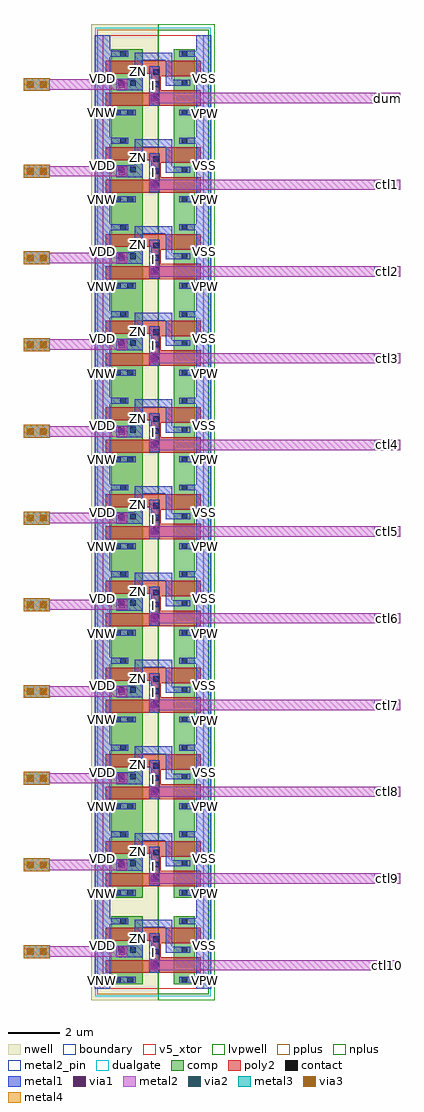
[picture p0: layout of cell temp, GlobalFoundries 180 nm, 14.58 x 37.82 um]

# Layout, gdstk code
import gdstk
lib = gdstk.Library(unit=1e-6, precision=1e-09)
def R(c, l, rs):  # rectangles x0, y0, x1, y1
    for r in rs: c.add(gdstk.rectangle(r[:2], r[2:], *l))
def A(c, l, x, y, w, h, nx, ny, dx, dy):  # array of equal rectangles
    R(c, l, [(x+i*dx, y+j*dy, x+i*dx+w, y+j*dy+h) for i in range(nx) for j in range(ny)])
def P(c, l, *ps):  # polygons
    for p in ps: c.add(gdstk.Polygon(p, *l))
boundary = (0, 0)
nwell = (21, 0)
comp = (22, 0)
poly2 = (30, 0)
pplus = (31, 0)
nplus = (32, 0)
contact = (33, 0)
metal1 = (34, 0)
via1 = (35, 0)
metal2 = (36, 0)
metal2_pin = (36, 10)
via2 = (38, 0)
via3 = (40, 0)
metal3 = (42, 0)
metal4 = (46, 0)
dualgate = (55, 0)
v5_xtor = (112, 1)
lvpwell = (204, 0)

temp = lib.new_cell('temp')
A(temp, boundary, 994.927, 79.97, 3.92, 3.36, 1, 11, 0, 3.36)
A(temp, nwell, 994.497, 79.54, 2.59, 4.22, 1, 11, 0, 3.36)
A(temp, comp, 995.267, 80.15, 1.22, 2.63, 1, 11, 0, 3.36)
A(temp, comp, 997.687, 80.15, 0.82, 2.63, 1, 11, 0, 3.36)
R(temp, comp, [(995.267,83.51,996.487,116.38), (997.687,83.51,998.507,116.38)])
P(temp, poly2, [(995.047,114.19),(995.047,114.69),(996.812,114.69),(996.812,115.44),(995.047,115.44),(995.047,115.94),(998.727,115.94),(998.727,115.34),(997.172,115.34),(997.172,114.79),(998.727,114.79),(998.727,114.19)],
  [(995.047,110.83),(995.047,111.33),(996.812,111.33),(996.812,112.08),(995.047,112.08),(995.047,112.58),(998.727,112.58),(998.727,111.98),(997.172,111.98),(997.172,111.43),(998.727,111.43),(998.727,110.83)],
  [(995.047,107.47),(995.047,107.97),(996.812,107.97),(996.812,108.72),(995.047,108.72),(995.047,109.22),(998.727,109.22),(998.727,108.62),(997.172,108.62),(997.172,108.07),(998.727,108.07),(998.727,107.47)],
  [(995.047,104.11),(995.047,104.61),(996.812,104.61),(996.812,105.36),(995.047,105.36),(995.047,105.86),(998.727,105.86),(998.727,105.26),(997.172,105.26),(997.172,104.71),(998.727,104.71),(998.727,104.11)],
  [(995.047,100.75),(995.047,101.25),(996.812,101.25),(996.812,102),(995.047,102),(995.047,102.5),(998.727,102.5),(998.727,101.9),(997.172,101.9),(997.172,101.35),(998.727,101.35),(998.727,100.75)],
  [(995.047,97.39),(995.047,97.89),(996.812,97.89),(996.812,98.64),(995.047,98.64),(995.047,99.14),(998.727,99.14),(998.727,98.54),(997.172,98.54),(997.172,97.99),(998.727,97.99),(998.727,97.39)],
  [(995.047,94.03),(995.047,94.53),(996.812,94.53),(996.812,95.28),(995.047,95.28),(995.047,95.78),(998.727,95.78),(998.727,95.18),(997.172,95.18),(997.172,94.63),(998.727,94.63),(998.727,94.03)],
  [(995.047,90.67),(995.047,91.17),(996.812,91.17),(996.812,91.92),(995.047,91.92),(995.047,92.42),(998.727,92.42),(998.727,91.82),(997.172,91.82),(997.172,91.27),(998.727,91.27),(998.727,90.67)],
  [(995.047,87.31),(995.047,87.81),(996.812,87.81),(996.812,88.56),(995.047,88.56),(995.047,89.06),(998.727,89.06),(998.727,88.46),(997.172,88.46),(997.172,87.91),(998.727,87.91),(998.727,87.31)],
  [(995.047,83.95),(995.047,84.45),(996.812,84.45),(996.812,85.2),(995.047,85.2),(995.047,85.7),(998.727,85.7),(998.727,85.1),(997.172,85.1),(997.172,84.55),(998.727,84.55),(998.727,83.95)],
  [(995.047,80.59),(995.047,81.09),(996.812,81.09),(996.812,81.84),(995.047,81.84),(995.047,82.34),(998.727,82.34),(998.727,81.74),(997.172,81.74),(997.172,81.19),(998.727,81.19),(998.727,80.59)])
A(temp, pplus, 994.727, 79.77, 2.36, 3.76, 1, 11, 0, 3.36)
A(temp, nplus, 997.087, 79.77, 1.96, 3.76, 1, 11, 0, 3.36)
A(temp, contact, 995.417, 80.22, 0.22, 0.22, 1, 11, 0, 3.36)
A(temp, contact, 995.887, 80.22, 0.22, 0.22, 1, 11, 0, 3.36)
A(temp, contact, 996.882, 80.845, 0.22, 0.22, 1, 3, 0, 0.47)
A(temp, contact, 995.527, 81.37, 0.22, 0.22, 1, 11, 0, 3.36)
A(temp, contact, 995.997, 81.37, 0.22, 0.22, 1, 11, 0, 3.36)
A(temp, contact, 995.617, 82.49, 0.22, 0.22, 1, 11, 0, 3.36)
A(temp, contact, 996.882, 84.205, 0.22, 0.22, 1, 3, 0, 0.47)
A(temp, contact, 996.882, 87.565, 0.22, 0.22, 1, 3, 0, 0.47)
A(temp, contact, 996.882, 90.925, 0.22, 0.22, 1, 3, 0, 0.47)
A(temp, contact, 996.882, 94.285, 0.22, 0.22, 1, 3, 0, 0.47)
A(temp, contact, 996.882, 97.645, 0.22, 0.22, 1, 3, 0, 0.47)
A(temp, contact, 996.882, 101.005, 0.22, 0.22, 1, 3, 0, 0.47)
A(temp, contact, 996.882, 104.365, 0.22, 0.22, 1, 3, 0, 0.47)
A(temp, contact, 996.882, 107.725, 0.22, 0.22, 1, 3, 0, 0.47)
A(temp, contact, 996.882, 111.085, 0.22, 0.22, 1, 3, 0, 0.47)
A(temp, contact, 996.882, 114.445, 0.22, 0.22, 1, 3, 0, 0.47)
R(temp, contact, [(997.997,80.22,998.217,80.44), (997.997,81.37,998.217,81.59), (997.997,82.49,998.217,82.71), (997.997,83.58,998.217,83.8), (997.997,84.73,998.217,84.95), (997.997,85.85,998.217,86.07), (997.997,86.94,998.217,87.16), (997.997,88.09,998.217,88.31), (997.997,89.21,998.217,89.43), (997.997,90.3,998.217,90.52), (997.997,91.45,998.217,91.67), (997.997,92.57,998.217,92.79), (997.997,93.66,998.217,93.88), (997.997,94.81,998.217,95.03), (997.997,95.93,998.217,96.15), (997.997,97.02,998.217,97.24), (997.997,98.17,998.217,98.39), (997.997,99.29,998.217,99.51), (997.997,100.38,998.217,100.6), (997.997,101.53,998.217,101.75), (997.997,102.65,998.217,102.87), (997.997,103.74,998.217,103.96), (997.997,104.89,998.217,105.11), (997.997,106.01,998.217,106.23), (997.997,107.1,998.217,107.32), (997.997,108.25,998.217,108.47), (997.997,109.37,998.217,109.59), (997.997,110.46,998.217,110.68), (997.997,111.61,998.217,111.83), (997.997,112.73,998.217,112.95), (997.997,113.82,998.217,114.04), (997.997,114.97,998.217,115.19), (997.997,116.09,998.217,116.31)])
A(temp, metal1, 996.727, 80.6, 0.415, 1.52, 1, 11, 0, 3.36)
A(temp, metal1, 995.477, 81.215, 0.4, 0.4, 1, 11, 0, 3.36)
R(temp, metal1, [(996.732,114.29,997.132,114.69)])
P(temp, metal1, [(995.457,114.79),(995.457,115.24),(996.167,115.24),(996.167,116.25),(997.627,116.25),(997.627,115.195),(998.317,115.195),(998.317,114.965),(997.372,114.965),(997.372,115.95),(996.487,115.95),(996.487,114.79)],
  [(995.457,111.43),(995.457,111.88),(996.167,111.88),(996.167,112.89),(997.627,112.89),(997.627,111.835),(998.317,111.835),(998.317,111.605),(997.372,111.605),(997.372,112.59),(996.487,112.59),(996.487,111.43)],
  [(995.457,108.07),(995.457,108.52),(996.167,108.52),(996.167,109.53),(997.627,109.53),(997.627,108.475),(998.317,108.475),(998.317,108.245),(997.372,108.245),(997.372,109.23),(996.487,109.23),(996.487,108.07)],
  [(995.457,104.71),(995.457,105.16),(996.167,105.16),(996.167,106.17),(997.627,106.17),(997.627,105.115),(998.317,105.115),(998.317,104.885),(997.372,104.885),(997.372,105.87),(996.487,105.87),(996.487,104.71)],
  [(995.457,101.35),(995.457,101.8),(996.167,101.8),(996.167,102.81),(997.627,102.81),(997.627,101.755),(998.317,101.755),(998.317,101.525),(997.372,101.525),(997.372,102.51),(996.487,102.51),(996.487,101.35)],
  [(995.457,97.99),(995.457,98.44),(996.167,98.44),(996.167,99.45),(997.627,99.45),(997.627,98.395),(998.317,98.395),(998.317,98.165),(997.372,98.165),(997.372,99.15),(996.487,99.15),(996.487,97.99)],
  [(995.457,94.63),(995.457,95.08),(996.167,95.08),(996.167,96.09),(997.627,96.09),(997.627,95.035),(998.317,95.035),(998.317,94.805),(997.372,94.805),(997.372,95.79),(996.487,95.79),(996.487,94.63)],
  [(995.457,91.27),(995.457,91.72),(996.167,91.72),(996.167,92.73),(997.627,92.73),(997.627,91.675),(998.317,91.675),(998.317,91.445),(997.372,91.445),(997.372,92.43),(996.487,92.43),(996.487,91.27)],
  [(995.457,87.91),(995.457,88.36),(996.167,88.36),(996.167,89.37),(997.627,89.37),(997.627,88.315),(998.317,88.315),(998.317,88.085),(997.372,88.085),(997.372,89.07),(996.487,89.07),(996.487,87.91)],
  [(995.457,84.55),(995.457,85),(996.167,85),(996.167,86.01),(997.627,86.01),(997.627,84.955),(998.317,84.955),(998.317,84.725),(997.372,84.725),(997.372,85.71),(996.487,85.71),(996.487,84.55)],
  [(995.457,81.19),(995.457,81.64),(996.167,81.64),(996.167,82.65),(997.627,82.65),(997.627,81.595),(998.317,81.595),(998.317,81.365),(997.372,81.365),(997.372,82.35),(996.487,82.35),(996.487,81.19)],
  [(998.547,113.57),(998.547,113.815),(997.897,113.815),(997.897,114.045),(998.547,114.045),(998.547,116.085),(997.897,116.085),(997.897,116.315),(998.547,116.315),(998.547,116.93),(999.147,116.93),(999.147,113.57)],
  [(998.547,110.21),(998.547,110.455),(997.897,110.455),(997.897,110.685),(998.547,110.685),(998.547,112.725),(997.897,112.725),(997.897,112.955),(998.547,112.955),(998.547,113.57),(999.147,113.57),(999.147,110.21)],
  [(998.547,106.85),(998.547,107.095),(997.897,107.095),(997.897,107.325),(998.547,107.325),(998.547,109.365),(997.897,109.365),(997.897,109.595),(998.547,109.595),(998.547,110.21),(999.147,110.21),(999.147,106.85)],
  [(998.547,103.49),(998.547,103.735),(997.897,103.735),(997.897,103.965),(998.547,103.965),(998.547,106.005),(997.897,106.005),(997.897,106.235),(998.547,106.235),(998.547,106.85),(999.147,106.85),(999.147,103.49)],
  [(998.547,100.13),(998.547,100.375),(997.897,100.375),(997.897,100.605),(998.547,100.605),(998.547,102.645),(997.897,102.645),(997.897,102.875),(998.547,102.875),(998.547,103.49),(999.147,103.49),(999.147,100.13)],
  [(998.547,96.77),(998.547,97.015),(997.897,97.015),(997.897,97.245),(998.547,97.245),(998.547,99.285),(997.897,99.285),(997.897,99.515),(998.547,99.515),(998.547,100.13),(999.147,100.13),(999.147,96.77)],
  [(998.547,93.41),(998.547,93.655),(997.897,93.655),(997.897,93.885),(998.547,93.885),(998.547,95.925),(997.897,95.925),(997.897,96.155),(998.547,96.155),(998.547,96.77),(999.147,96.77),(999.147,93.41)],
  [(998.547,90.05),(998.547,90.295),(997.897,90.295),(997.897,90.525),(998.547,90.525),(998.547,92.565),(997.897,92.565),(997.897,92.795),(998.547,92.795),(998.547,93.41),(999.147,93.41),(999.147,90.05)],
  [(998.547,86.69),(998.547,86.935),(997.897,86.935),(997.897,87.165),(998.547,87.165),(998.547,89.205),(997.897,89.205),(997.897,89.435),(998.547,89.435),(998.547,90.05),(999.147,90.05),(999.147,86.69)],
  [(998.547,83.33),(998.547,83.575),(997.897,83.575),(997.897,83.805),(998.547,83.805),(998.547,85.845),(997.897,85.845),(997.897,86.075),(998.547,86.075),(998.547,86.69),(999.147,86.69),(999.147,83.33)],
  [(998.547,79.97),(998.547,80.215),(997.897,80.215),(997.897,80.445),(998.547,80.445),(998.547,82.485),(997.897,82.485),(997.897,82.715),(998.547,82.715),(998.547,83.33),(999.147,83.33),(999.147,79.97)],
  [(994.627,113.57),(994.627,116.93),(995.227,116.93),(995.227,116.315),(995.917,116.315),(995.917,116.085),(995.227,116.085),(995.227,114.045),(996.207,114.045),(996.207,113.815),(995.227,113.815),(995.227,113.57)],
  [(994.627,110.21),(994.627,113.57),(995.227,113.57),(995.227,112.955),(995.917,112.955),(995.917,112.725),(995.227,112.725),(995.227,110.685),(996.207,110.685),(996.207,110.455),(995.227,110.455),(995.227,110.21)],
  [(994.627,106.85),(994.627,110.21),(995.227,110.21),(995.227,109.595),(995.917,109.595),(995.917,109.365),(995.227,109.365),(995.227,107.325),(996.207,107.325),(996.207,107.095),(995.227,107.095),(995.227,106.85)],
  [(994.627,103.49),(994.627,106.85),(995.227,106.85),(995.227,106.235),(995.917,106.235),(995.917,106.005),(995.227,106.005),(995.227,103.965),(996.207,103.965),(996.207,103.735),(995.227,103.735),(995.227,103.49)],
  [(994.627,100.13),(994.627,103.49),(995.227,103.49),(995.227,102.875),(995.917,102.875),(995.917,102.645),(995.227,102.645),(995.227,100.605),(996.207,100.605),(996.207,100.375),(995.227,100.375),(995.227,100.13)],
  [(994.627,96.77),(994.627,100.13),(995.227,100.13),(995.227,99.515),(995.917,99.515),(995.917,99.285),(995.227,99.285),(995.227,97.245),(996.207,97.245),(996.207,97.015),(995.227,97.015),(995.227,96.77)],
  [(994.627,93.41),(994.627,96.77),(995.227,96.77),(995.227,96.155),(995.917,96.155),(995.917,95.925),(995.227,95.925),(995.227,93.885),(996.207,93.885),(996.207,93.655),(995.227,93.655),(995.227,93.41)],
  [(994.627,90.05),(994.627,93.41),(995.227,93.41),(995.227,92.795),(995.917,92.795),(995.917,92.565),(995.227,92.565),(995.227,90.525),(996.207,90.525),(996.207,90.295),(995.227,90.295),(995.227,90.05)],
  [(994.627,86.69),(994.627,90.05),(995.227,90.05),(995.227,89.435),(995.917,89.435),(995.917,89.205),(995.227,89.205),(995.227,87.165),(996.207,87.165),(996.207,86.935),(995.227,86.935),(995.227,86.69)],
  [(994.627,83.33),(994.627,86.69),(995.227,86.69),(995.227,86.075),(995.917,86.075),(995.917,85.845),(995.227,85.845),(995.227,83.805),(996.207,83.805),(996.207,83.575),(995.227,83.575),(995.227,83.33)],
  [(994.627,79.97),(994.627,83.33),(995.227,83.33),(995.227,82.715),(995.917,82.715),(995.917,82.485),(995.227,82.485),(995.227,80.445),(996.207,80.445),(996.207,80.215),(995.227,80.215),(995.227,79.97)])
A(temp, via1, 996.802, 80.76, 0.26, 0.26, 1, 11, 0, 3.36)
A(temp, via1, 995.547, 81.285, 0.26, 0.26, 1, 11, 0, 3.36)
A(temp, metal2, 996.732, 80.69, 4.475, 0.4, 1, 11, 0, 3.36)
A(temp, metal2, 999.277, 80.69, 7.18, 0.4, 1, 11, 0, 3.36)
A(temp, metal2, 991.877, 81.165, 0.5, 0.5, 1, 11, 0, 3.36)
A(temp, metal2, 992.377, 81.165, 0.5, 0.5, 1, 11, 0, 3.36)
A(temp, metal2, 991.877, 81.215, 4, 0.4, 1, 11, 0, 3.36)
A(temp, metal2_pin, 1005.457, 80.69, 1, 0.4, 1, 11, 0, 3.36)
A(temp, via2, 991.997, 81.285, 0.26, 0.26, 1, 11, 0, 3.36)
A(temp, via2, 992.497, 81.285, 0.26, 0.26, 1, 11, 0, 3.36)
A(temp, via3, 991.997, 81.285, 0.26, 0.26, 1, 11, 0, 3.36)
A(temp, via3, 992.497, 81.285, 0.26, 0.26, 1, 11, 0, 3.36)
A(temp, metal3, 991.877, 81.165, 0.5, 0.5, 1, 11, 0, 3.36)
A(temp, metal3, 992.377, 81.165, 0.5, 0.5, 1, 11, 0, 3.36)
A(temp, metal4, 991.877, 81.165, 0.5, 0.5, 1, 11, 0, 3.36)
A(temp, metal4, 992.377, 81.165, 0.5, 0.5, 1, 11, 0, 3.36)
A(temp, dualgate, 994.647, 79.69, 4.48, 3.92, 1, 11, 0, 3.36)
A(temp, v5_xtor, 994.927, 79.97, 3.92, 3.36, 1, 11, 0, 3.36)
A(temp, lvpwell, 997.087, 79.54, 2.19, 4.22, 1, 11, 0, 3.36)
temp.add(gdstk.Label('dum', (1005.957,114.49), layer=36, texttype=10))
temp.add(gdstk.Label('ctl1', (1005.957,111.13), layer=36, texttype=10))
temp.add(gdstk.Label('ctl2', (1005.957,107.77), layer=36, texttype=10))
temp.add(gdstk.Label('ctl3', (1005.957,104.41), layer=36, texttype=10))
temp.add(gdstk.Label('ctl4', (1005.957,101.05), layer=36, texttype=10))
temp.add(gdstk.Label('ctl5', (1005.957,97.69), layer=36, texttype=10))
temp.add(gdstk.Label('ctl6', (1005.957,94.33), layer=36, texttype=10))
temp.add(gdstk.Label('ctl7', (1005.957,90.97), layer=36, texttype=10))
temp.add(gdstk.Label('ctl8', (1005.957,87.61), layer=36, texttype=10))
temp.add(gdstk.Label('ctl9', (1005.957,84.25), layer=36, texttype=10))
temp.add(gdstk.Label('ctl10', (1005.957,80.89), layer=36, texttype=10))
temp.add(gdstk.Label('VSS', (998.872,115.25), layer=34, texttype=10))
temp.add(gdstk.Label('VSS', (998.872,111.89), layer=34, texttype=10))
temp.add(gdstk.Label('VSS', (998.872,108.53), layer=34, texttype=10))
temp.add(gdstk.Label('VSS', (998.872,105.17), layer=34, texttype=10))
temp.add(gdstk.Label('VSS', (998.872,101.81), layer=34, texttype=10))
temp.add(gdstk.Label('VSS', (998.872,98.45), layer=34, texttype=10))
temp.add(gdstk.Label('VSS', (998.872,95.09), layer=34, texttype=10))
temp.add(gdstk.Label('VSS', (998.872,91.73), layer=34, texttype=10))
temp.add(gdstk.Label('VSS', (998.872,88.37), layer=34, texttype=10))
temp.add(gdstk.Label('VSS', (998.872,85.01), layer=34, texttype=10))
temp.add(gdstk.Label('VSS', (998.872,81.65), layer=34, texttype=10))
temp.add(gdstk.Label('ZN', (996.327,115.53), layer=34, texttype=10))
temp.add(gdstk.Label('ZN', (996.327,112.17), layer=34, texttype=10))
temp.add(gdstk.Label('ZN', (996.327,108.81), layer=34, texttype=10))
temp.add(gdstk.Label('ZN', (996.327,105.45), layer=34, texttype=10))
temp.add(gdstk.Label('ZN', (996.327,102.09), layer=34, texttype=10))
temp.add(gdstk.Label('ZN', (996.327,98.73), layer=34, texttype=10))
temp.add(gdstk.Label('ZN', (996.327,95.37), layer=34, texttype=10))
temp.add(gdstk.Label('ZN', (996.327,92.01), layer=34, texttype=10))
temp.add(gdstk.Label('ZN', (996.327,88.65), layer=34, texttype=10))
temp.add(gdstk.Label('ZN', (996.327,85.29), layer=34, texttype=10))
temp.add(gdstk.Label('ZN', (996.327,81.93), layer=34, texttype=10))
temp.add(gdstk.Label('I', (996.887,114.97), layer=34, texttype=10))
temp.add(gdstk.Label('I', (996.887,111.61), layer=34, texttype=10))
temp.add(gdstk.Label('I', (996.887,108.25), layer=34, texttype=10))
temp.add(gdstk.Label('I', (996.887,104.89), layer=34, texttype=10))
temp.add(gdstk.Label('I', (996.887,101.53), layer=34, texttype=10))
temp.add(gdstk.Label('I', (996.887,98.17), layer=34, texttype=10))
temp.add(gdstk.Label('I', (996.887,94.81), layer=34, texttype=10))
temp.add(gdstk.Label('I', (996.887,91.45), layer=34, texttype=10))
temp.add(gdstk.Label('I', (996.887,88.09), layer=34, texttype=10))
temp.add(gdstk.Label('I', (996.887,84.73), layer=34, texttype=10))
temp.add(gdstk.Label('I', (996.887,81.37), layer=34, texttype=10))
temp.add(gdstk.Label('VDD', (994.917,115.25), layer=34, texttype=10))
temp.add(gdstk.Label('VDD', (994.917,111.89), layer=34, texttype=10))
temp.add(gdstk.Label('VDD', (994.917,108.53), layer=34, texttype=10))
temp.add(gdstk.Label('VDD', (994.917,105.17), layer=34, texttype=10))
temp.add(gdstk.Label('VDD', (994.917,101.81), layer=34, texttype=10))
temp.add(gdstk.Label('VDD', (994.917,98.45), layer=34, texttype=10))
temp.add(gdstk.Label('VDD', (994.917,95.09), layer=34, texttype=10))
temp.add(gdstk.Label('VDD', (994.917,91.73), layer=34, texttype=10))
temp.add(gdstk.Label('VDD', (994.917,88.37), layer=34, texttype=10))
temp.add(gdstk.Label('VDD', (994.917,85.01), layer=34, texttype=10))
temp.add(gdstk.Label('VDD', (994.917,81.65), layer=34, texttype=10))
temp.add(gdstk.Label('VNW', (994.927,113.915), layer=21, texttype=10))
temp.add(gdstk.Label('VNW', (994.927,110.555), layer=21, texttype=10))
temp.add(gdstk.Label('VNW', (994.927,107.195), layer=21, texttype=10))
temp.add(gdstk.Label('VNW', (994.927,103.835), layer=21, texttype=10))
temp.add(gdstk.Label('VNW', (994.927,100.475), layer=21, texttype=10))
temp.add(gdstk.Label('VNW', (994.927,97.115), layer=21, texttype=10))
temp.add(gdstk.Label('VNW', (994.927,93.755), layer=21, texttype=10))
temp.add(gdstk.Label('VNW', (994.927,90.395), layer=21, texttype=10))
temp.add(gdstk.Label('VNW', (994.927,87.035), layer=21, texttype=10))
temp.add(gdstk.Label('VNW', (994.927,83.675), layer=21, texttype=10))
temp.add(gdstk.Label('VNW', (994.927,80.315), layer=21, texttype=10))
temp.add(gdstk.Label('VPW', (998.932,113.91), layer=204, texttype=10))
temp.add(gdstk.Label('VPW', (998.932,110.55), layer=204, texttype=10))
temp.add(gdstk.Label('VPW', (998.932,107.19), layer=204, texttype=10))
temp.add(gdstk.Label('VPW', (998.932,103.83), layer=204, texttype=10))
temp.add(gdstk.Label('VPW', (998.932,100.47), layer=204, texttype=10))
temp.add(gdstk.Label('VPW', (998.932,97.11), layer=204, texttype=10))
temp.add(gdstk.Label('VPW', (998.932,93.75), layer=204, texttype=10))
temp.add(gdstk.Label('VPW', (998.932,90.39), layer=204, texttype=10))
temp.add(gdstk.Label('VPW', (998.932,87.03), layer=204, texttype=10))
temp.add(gdstk.Label('VPW', (998.932,83.67), layer=204, texttype=10))
temp.add(gdstk.Label('VPW', (998.932,80.31), layer=204, texttype=10))

lib.write_gds('temp.gds')
